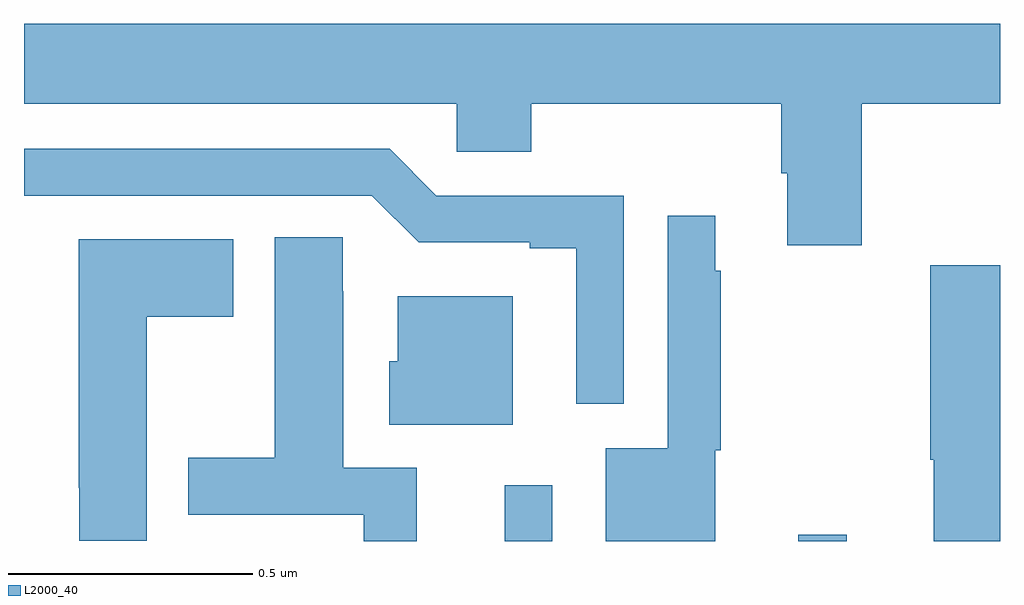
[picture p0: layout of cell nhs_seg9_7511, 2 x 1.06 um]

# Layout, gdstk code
import gdstk
lib = gdstk.Library(unit=1e-6, precision=1e-09)
def R(c, l, rs):  # rectangles x0, y0, x1, y1
    for r in rs: c.add(gdstk.rectangle(r[:2], r[2:], *l))
def P(c, l, *ps):  # polygons
    for p in ps: c.add(gdstk.Polygon(p, *l))
L2000_40 = (2000, 40)

nhs_seg9_7511 = lib.new_cell('nhs_seg9_7511')
R(nhs_seg9_7511, L2000_40, [(205.985,1219.5,206.082,1219.615), (206.587,1219.5,206.686,1219.513)])
P(nhs_seg9_7511, L2000_40, [(206.717,1220.396),(207,1220.396),(207,1220.56),(205,1220.56),(205,1220.396),(205.887,1220.396),(205.887,1220.298),(206.039,1220.298),(206.039,1220.396),(206.552,1220.396),(206.552,1220.254),(206.564,1220.254),(206.564,1220.106),(206.717,1220.106)],
  [(206.229,1220.208),(205.845,1220.208),(205.749,1220.304),(205,1220.304),(205,1220.208),(205.713,1220.208),(205.809,1220.112),(206.036,1220.112),(206.036,1220.1),(206.132,1220.1),(206.132,1219.782),(206.229,1219.782)],
  [(206.416,1219.686),(206.428,1219.686),(206.428,1220.054),(206.416,1220.054),(206.416,1220.167),(206.319,1220.167),(206.319,1219.69),(206.192,1219.69),(206.192,1219.5),(206.416,1219.5)],
  [(205.805,1219.65),(205.654,1219.65),(205.654,1220.012),(205.653,1220.012),(205.653,1220.123),(205.514,1220.123),(205.514,1219.671),(205.337,1219.671),(205.337,1219.554),(205.696,1219.554),(205.696,1219.5),(205.805,1219.5)],
  [(205.252,1219.96),(205.429,1219.96),(205.429,1220.119),(205.112,1220.119),(205.112,1219.609),(205.113,1219.609),(205.113,1219.501),(205.252,1219.501)],
  [(207,1220.065),(206.857,1220.065),(206.857,1219.667),(206.864,1219.667),(206.864,1219.5),(207,1219.5)],
  [(206.002,1220.002),(205.766,1220.002),(205.766,1219.869),(205.748,1219.869),(205.748,1219.739),(206.002,1219.739)])

lib.write_gds('nhs_seg9_7511.gds')
